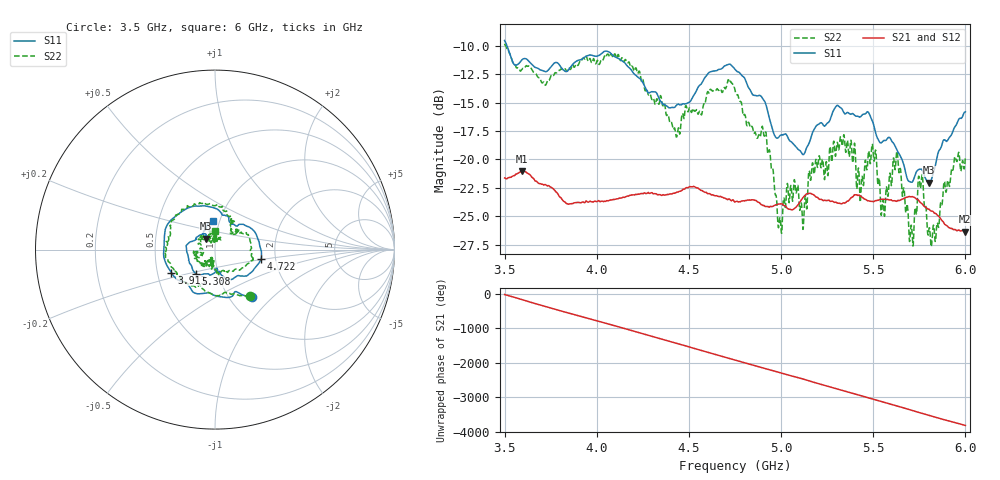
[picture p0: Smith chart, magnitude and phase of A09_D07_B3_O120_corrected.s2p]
! Created with skrf 1.9.0 (http://scikit-rf.org).
# Hz S RI R 50.0
!freq ReS11 ImS11 ReS21 ImS21 ReS12 ImS12 ReS22 ImS22
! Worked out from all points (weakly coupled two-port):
!   1601 points, 3.5 GHz to 6 GHz, reference 50 ohm
!   highest |S21| = -21.05 dB at 3.594 GHz (marker M1); lowest = -26.4 dB at 5.995 GHz (marker M2)
!   lowest |S11| = -22.1 dB at 5.803 GHz (marker M3), VSWR 1.17, Z = 44.9 + j5.51 ohm
!   |S11| at or under -10 dB: 3.513 GHz to end of sweep
!   |S22| runs from -27.6 to -9.8 dB; largest |S21 - S12| = 0.001
!   S11 on the Smith chart (normalised r, x): 3.5 GHz: 1.26, -0.75; 3.913 GHz: 0.59, -0.16; 4.722 GHz: 1.68, -0.18; 5.308 GHz: 0.78, -0.22; 6 GHz: 0.93, +0.31
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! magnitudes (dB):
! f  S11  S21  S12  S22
! 3.5 GHz  -9.5  -21.6  -21.6  -9.8
! 3.594 GHz  -11.2  -21.0  -21.1  -12.1
! 3.913 GHz  -11.2  -23.8  -23.8  -11.4
! 3.917 GHz  -11.2  -23.8  -23.8  -11.3
! 4.334 GHz  -14.5  -23.1  -23.1  -15.1
! 4.441 GHz  -15.1  -22.9  -22.8  -17.4
! 4.722 GHz  -11.6  -23.5  -23.5  -13.2
! 4.75 GHz  -12.1  -23.7  -23.7  -13.9
! 4.909 GHz  -14.8  -24.1  -24.0  -18.0
! 4.994 GHz  -17.9  -23.9  -23.9  -25.1
! 5.167 GHz  -17.8  -23.1  -23.0  -20.7
! 5.308 GHz  -15.3  -23.8  -23.8  -18.7
! 5.438 GHz  -16.1  -23.3  -23.3  -21.6
! 5.503 GHz  -17.0  -23.7  -23.7  -20.1
! 5.552 GHz  -18.4  -23.5  -23.5  -23.6
! 5.584 GHz  -18.1  -23.6  -23.5  -22.4
! 5.636 GHz  -19.4  -23.6  -23.6  -20.5
! 5.706 GHz  -22.0  -23.3  -23.3  -25.8
! 5.758 GHz  -20.9  -23.8  -23.8  -22.4
! 5.803 GHz  -22.1  -24.4  -24.4  -26.0
! 5.995 GHz  -15.8  -26.4  -26.3  -20.7
! 6 GHz  -15.8  -26.3  -26.3  -19.8
